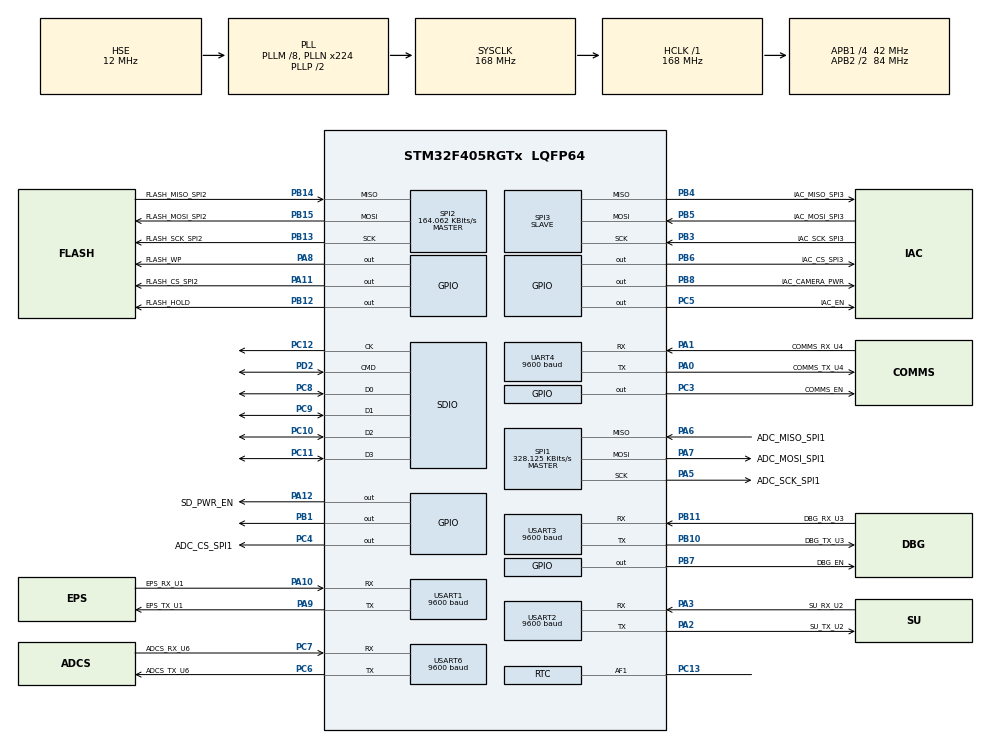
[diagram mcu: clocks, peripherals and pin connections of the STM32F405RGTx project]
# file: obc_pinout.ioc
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ADC1.Channel-21\#ChannelRegularConversion=ADC_CHANNEL_VBAT
ADC1.NbrOfConversionFlag=1
ADC1.Rank-21\#ChannelRegularConversion=1
ADC1.SamplingTime-21\#ChannelRegularConversion=ADC_SAMPLETIME_3CYCLES
ADC1.master=1
Dma.Request0=USART2_TX
Dma.Request1=USART3_TX
Dma.Request2=USART6_TX
Dma.Request3=USART1_TX
Dma.Request4=UART4_TX
Dma.UART4_TX.4.Direction=DMA_MEMORY_TO_PERIPH
Dma.UART4_TX.4.FIFOMode=DMA_FIFOMODE_DISABLE
Dma.UART4_TX.4.Instance=DMA1_Stream4
Dma.UART4_TX.4.MemDataAlignment=DMA_MDATAALIGN_BYTE
Dma.UART4_TX.4.MemInc=DMA_MINC_ENABLE
Dma.UART4_TX.4.Mode=DMA_NORMAL
Dma.UART4_TX.4.PeriphDataAlignment=DMA_PDATAALIGN_BYTE
Dma.UART4_TX.4.PeriphInc=DMA_PINC_DISABLE
Dma.UART4_TX.4.Priority=DMA_PRIORITY_LOW
Dma.USART1_TX.3.Direction=DMA_MEMORY_TO_PERIPH
Dma.USART1_TX.3.FIFOMode=DMA_FIFOMODE_DISABLE
Dma.USART1_TX.3.Instance=DMA2_Stream7
Dma.USART1_TX.3.MemDataAlignment=DMA_MDATAALIGN_BYTE
Dma.USART1_TX.3.MemInc=DMA_MINC_ENABLE
Dma.USART1_TX.3.Mode=DMA_NORMAL
Dma.USART1_TX.3.PeriphDataAlignment=DMA_PDATAALIGN_BYTE
Dma.USART1_TX.3.PeriphInc=DMA_PINC_DISABLE
Dma.USART1_TX.3.Priority=DMA_PRIORITY_LOW
Dma.USART2_TX.0.Direction=DMA_MEMORY_TO_PERIPH
Dma.USART2_TX.0.FIFOMode=DMA_FIFOMODE_DISABLE
Dma.USART2_TX.0.Instance=DMA1_Stream6
Dma.USART2_TX.0.MemDataAlignment=DMA_MDATAALIGN_BYTE
Dma.USART2_TX.0.MemInc=DMA_MINC_ENABLE
Dma.USART2_TX.0.Mode=DMA_NORMAL
Dma.USART2_TX.0.PeriphDataAlignment=DMA_PDATAALIGN_BYTE
Dma.USART2_TX.0.PeriphInc=DMA_PINC_DISABLE
Dma.USART2_TX.0.Priority=DMA_PRIORITY_LOW
Dma.USART3_TX.1.Direction=DMA_MEMORY_TO_PERIPH
Dma.USART3_TX.1.FIFOMode=DMA_FIFOMODE_DISABLE
Dma.USART3_TX.1.Instance=DMA1_Stream3
Dma.USART3_TX.1.MemDataAlignment=DMA_MDATAALIGN_BYTE
Dma.USART3_TX.1.MemInc=DMA_MINC_ENABLE
Dma.USART3_TX.1.Mode=DMA_NORMAL
Dma.USART3_TX.1.PeriphDataAlignment=DMA_PDATAALIGN_BYTE
Dma.USART3_TX.1.PeriphInc=DMA_PINC_DISABLE
Dma.USART3_TX.1.Priority=DMA_PRIORITY_LOW
Dma.USART6_TX.2.Direction=DMA_MEMORY_TO_PERIPH
Dma.USART6_TX.2.FIFOMode=DMA_FIFOMODE_DISABLE
Dma.USART6_TX.2.Instance=DMA2_Stream6
Dma.USART6_TX.2.MemDataAlignment=DMA_MDATAALIGN_BYTE
Dma.USART6_TX.2.MemInc=DMA_MINC_ENABLE
Dma.USART6_TX.2.Mode=DMA_NORMAL
Dma.USART6_TX.2.PeriphDataAlignment=DMA_PDATAALIGN_BYTE
Dma.USART6_TX.2.PeriphInc=DMA_PINC_DISABLE
Dma.USART6_TX.2.Priority=DMA_PRIORITY_LOW
FATFS._FS_LOCK=1
FATFS._MAX_SS=512
FREERTOS.HEAP_NUMBER=1
FREERTOS.INCLUDE_uxTaskGetStackHighWaterMark=1
FREERTOS.INCLUDE_vTaskDelayUntil=1
FREERTOS.Queues01=queueCOMMS,25,uint16_t,NULL;queueADCS,25,uint16_t,NULL;queueDBG,25,uint16_t,NULL;queueEPS,25,uint16_t,NULL
FREERTOS.Tasks01=uart,0,1024,UART_task,Default;HK,-2,512,HK_task,Default;time_check,-3,512,IDLE_task,Default;SU_SCH_task,-1,512,SU_SCH,Default;TEST_task,1,512,StartTask05,Default
FREERTOS.configCHECK_FOR_STACK_OVERFLOW=2
FREERTOS.configUSE_IDLE_HOOK=1
IWDG.Prescaler=IWDG_PRESCALER_256
Mcu.Family=STM32F4
Mcu.Name=STM32F405RGTx
Mcu.Package=LQFP64
NVIC.ADC_IRQn=true\:0\:0\:false\:false\:true\:false\:true
NVIC.DMA1_Stream3_IRQn=true\:5\:0\:false\:false\:true\:true\:true
NVIC.DMA1_Stream4_IRQn=true\:5\:0\:false\:false\:true\:true\:true
NVIC.DMA1_Stream6_IRQn=true\:5\:0\:false\:false\:true\:true\:true
NVIC.DMA2_Stream6_IRQn=true\:5\:0\:false\:false\:true\:true\:true
NVIC.DMA2_Stream7_IRQn=true\:5\:0\:false\:false\:true\:true\:true
NVIC.PriorityGroup=NVIC_PRIORITYGROUP_4
NVIC.SDIO_IRQn=true\:5\:0\:false\:false\:true\:true\:true
NVIC.SPI3_IRQn=true\:5\:0\:false\:false\:true\:true\:true
NVIC.TIM1_UP_TIM10_IRQn=true\:0\:0\:false\:false\:true\:false\:true
NVIC.TimeBase=TIM1_UP_TIM10_IRQn
NVIC.TimeBaseIP=TIM1
NVIC.UART4_IRQn=true\:5\:0\:false\:false\:true\:true\:true
NVIC.USART1_IRQn=true\:5\:0\:false\:false\:true\:true\:true
NVIC.USART2_IRQn=true\:5\:0\:false\:false\:true\:true\:true
NVIC.USART3_IRQn=true\:5\:0\:false\:false\:true\:true\:true
NVIC.USART6_IRQn=true\:5\:0\:false\:false\:true\:true\:true
PA0-WKUP.GPIO_Label=COMMS_TX_U4
PA0-WKUP.Mode=Asynchronous
PA0-WKUP.Signal=UART4_TX
PA1.GPIO_Label=COMMS_RX_U4
PA1.Mode=Asynchronous
PA1.Signal=UART4_RX
PA10.GPIO_Label=EPS_RX_U1
PA10.Mode=Asynchronous
PA10.Signal=USART1_RX
PA11.GPIO_Label=FLASH_CS_SPI2
PA11.Signal=GPIO_Output
PA12.GPIO_Label=SD_PWR_EN
PA12.Signal=GPIO_Output
PA13.Mode=Serial_Wire
PA13.Signal=SYS_JTMS-SWDIO
PA14.Mode=Serial_Wire
PA14.Signal=SYS_JTCK-SWCLK
PA2.GPIO_Label=SU_TX_U2
PA2.Mode=Asynchronous
PA2.Signal=USART2_TX
PA3.GPIO_Label=SU_RX_U2
PA3.Mode=Asynchronous
PA3.Signal=USART2_RX
PA5.GPIO_Label=ADC_SCK_SPI1
PA5.Mode=Full_Duplex_Master
PA5.Signal=SPI1_SCK
PA6.GPIO_Label=ADC_MISO_SPI1
PA6.Mode=Full_Duplex_Master
PA6.Signal=SPI1_MISO
PA7.GPIO_Label=ADC_MOSI_SPI1
PA7.Mode=Full_Duplex_Master
PA7.Signal=SPI1_MOSI
PA8.GPIO_Label=FLASH_WP
PA8.Signal=GPIO_Output
PA9.GPIO_Label=EPS_TX_U1
PA9.Mode=Asynchronous
PA9.Signal=USART1_TX
PB0.GPIO_Label=IAC_CM_ADC1_8
PB0.Signal=ADCx_IN8
PB1.Signal=GPIO_Output
PB10.GPIO_Label=DBG_TX_U3
PB10.Mode=Asynchronous
PB10.Signal=USART3_TX
PB11.GPIO_Label=DBG_RX_U3
PB11.Mode=Asynchronous
PB11.Signal=USART3_RX
PB12.GPIO_Label=FLASH_HOLD
PB12.Signal=GPIO_Output
PB13.GPIO_Label=FLASH_SCK_SPI2
PB13.Mode=Full_Duplex_Master
PB13.Signal=SPI2_SCK
PB14.GPIO_Label=FLASH_MISO_SPI2
PB14.Mode=Full_Duplex_Master
PB14.Signal=SPI2_MISO
PB15.GPIO_Label=FLASH_MOSI_SPI2
PB15.Mode=Full_Duplex_Master
PB15.Signal=SPI2_MOSI
PB3.GPIO_Label=IAC_SCK_SPI3
PB3.Mode=Full_Duplex_Slave
PB3.Signal=SPI3_SCK
PB4.GPIO_Label=IAC_MISO_SPI3
PB4.Mode=Full_Duplex_Slave
PB4.Signal=SPI3_MISO
PB5.GPIO_Label=IAC_MOSI_SPI3
PB5.Mode=Full_Duplex_Slave
PB5.Signal=SPI3_MOSI
PB6.GPIO_Label=IAC_CS_SPI3
PB6.Signal=GPIO_Output
PB7.GPIO_Label=DBG_EN
PB7.Signal=GPIO_Output
PB8.GPIO_Label=IAC_CAMERA_PWR
PB8.Signal=GPIO_Output
PC10.Mode=SD_4_bits_Wide_bus
PC10.Signal=SDIO_D2
PC11.Mode=SD_4_bits_Wide_bus
PC11.Signal=SDIO_D3
PC12.Mode=SD_4_bits_Wide_bus
PC12.Signal=SDIO_CK
PC13-ANTI_TAMP.Mode=Calibration_1Hz
PC13-ANTI_TAMP.Signal=RTC_AF1
PC14-OSC32_IN.Mode=LSE-External-Oscillator
PC14-OSC32_IN.Signal=RCC_OSC32_IN
PC15-OSC32_OUT.Mode=LSE-External-Oscillator
PC15-OSC32_OUT.Signal=RCC_OSC32_OUT
PC3.GPIO_Label=COMMS_EN
PC3.Signal=GPIO_Output
PC4.GPIO_Label=ADC_CS_SPI1
PC4.Signal=GPIO_Output
PC5.GPIO_Label=IAC_EN
PC5.Signal=GPIO_Output
PC6.GPIO_Label=ADCS_TX_U6
PC6.Mode=Asynchronous
PC6.Signal=USART6_TX
PC7.GPIO_Label=ADCS_RX_U6
PC7.Mode=Asynchronous
PC7.Signal=USART6_RX
PC8.Mode=SD_4_bits_Wide_bus
PC8.Signal=SDIO_D0
PC9.Mode=SD_4_bits_Wide_bus
PC9.Signal=SDIO_D1
PD2.Mode=SD_4_bits_Wide_bus
PD2.Signal=SDIO_CMD
PH0-OSC_IN.Mode=HSE-External-Oscillator
PH0-OSC_IN.Signal=RCC_OSC_IN
PH1-OSC_OUT.Mode=HSE-External-Oscillator
PH1-OSC_OUT.Signal=RCC_OSC_OUT
ProjectManager.HeapSize=0x200
ProjectManager.StackSize=0x400
ProjectManager.TargetToolchain=SW4STM32
RCC.48MHZClocksFreq_Value=48000000
RCC.AHBFreq_Value=168000000
RCC.APB1CLKDivider=RCC_HCLK_DIV4
RCC.APB1Freq_Value=42000000
RCC.APB1TimFreq_Value=84000000
RCC.APB2CLKDivider=RCC_HCLK_DIV2
RCC.APB2Freq_Value=84000000
RCC.APB2TimFreq_Value=168000000
RCC.CortexFreq_Value=168000000
RCC.HCLKFreq_Value=168000000
RCC.HSE_VALUE=12000000
RCC.HSI_VALUE=16000000
RCC.PLLM=8
RCC.PLLN=224
RCC.PLLQ=7
RCC.PLLSourceVirtual=RCC_PLLSOURCE_HSE
RCC.RCC_RTC_Clock_Source=RCC_RTCCLKSOURCE_LSE
RCC.RCC_RTC_Clock_SourceVirtual=RCC_RTCCLKSOURCE_LSE
RCC.SYSCLKFreq_VALUE=168000000
RCC.SYSCLKSource=RCC_SYSCLKSOURCE_PLLCLK
RCC.VCOOutputFreq_Value=336000000
RTC.Format=RTC_FORMAT_BIN
SH.ADCx_IN8.0=ADC1_IN8
SPI1.BaudRatePrescaler=SPI_BAUDRATEPRESCALER_256
SPI1.CalculateBaudRate=328.125 KBits/s
SPI1.Direction=SPI_DIRECTION_2LINES
SPI1.Mode=SPI_MODE_MASTER
SPI1.VirtualType=VM_MASTER
SPI2.BaudRatePrescaler=SPI_BAUDRATEPRESCALER_256
SPI2.CLKPhase=SPI_PHASE_1EDGE
SPI2.CalculateBaudRate=164.062 KBits/s
SPI2.Direction=SPI_DIRECTION_2LINES
SPI2.Mode=SPI_MODE_MASTER
SPI2.VirtualType=VM_MASTER
SPI3.Direction=SPI_DIRECTION_2LINES
SPI3.Mode=SPI_MODE_SLAVE
SPI3.VirtualType=VM_SLAVE
UART4.BaudRate=9600
UART4.VirtualMode=Asynchronous
USART1.BaudRate=9600
USART1.VirtualMode=VM_ASYNC
USART2.BaudRate=9600
USART2.VirtualMode=VM_ASYNC
USART3.BaudRate=9600
USART3.VirtualMode=VM_ASYNC
USART6.BaudRate=9600
USART6.VirtualMode=VM_ASYNC
VP_ADC1_Vbat_Input.Mode=IN-Vbat
VP_FATFS_VS_SDIO.Mode=SDIO
VP_FREERTOS_VS_ENABLE.Mode=Enabled
VP_IWDG_VS_IWDG.Mode=IWDG_Activate
VP_SYS_VS_tim1.Mode=TIM1
board=obc_pinout

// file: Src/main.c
/**
  ******************************************************************************
  * File Name          : main.c
  * Description        : Main program body
  ******************************************************************************
  *
  * COPYRIGHT(c) 2022 STMicroelectronics
  *
  * Redistribution and use in source and binary forms, with or without modification,
  * are permitted provided that the following conditions are met:
  *   1. Redistributions of source code must retain the above copyright notice,
  *      this list of conditions and the following disclaimer.
  *   2. Redistributions in binary form must reproduce the above copyright notice,
  *      this list of conditions and the following disclaimer in the documentation
  *      and/or other materials provided with the distribution.
  *   3. Neither the name of STMicroelectronics nor the names of its contributors
  *      may be used to endorse or promote products derived from this software
  *      without specific prior written permission.
  *
  * THIS SOFTWARE IS PROVIDED BY THE COPYRIGHT HOLDERS AND CONTRIBUTORS "AS IS"
  * AND ANY EXPRESS OR IMPLIED WARRANTIES, INCLUDING, BUT NOT LIMITED TO, THE
  * IMPLIED WARRANTIES OF MERCHANTABILITY AND FITNESS FOR A PARTICULAR PURPOSE ARE
  * DISCLAIMED. IN NO EVENT SHALL THE COPYRIGHT HOLDER OR CONTRIBUTORS BE LIABLE
  * FOR ANY DIRECT, INDIRECT, INCIDENTAL, SPECIAL, EXEMPLARY, OR CONSEQUENTIAL
  * DAMAGES (INCLUDING, BUT NOT LIMITED TO, PROCUREMENT OF SUBSTITUTE GOODS OR
  * SERVICES; LOSS OF USE, DATA, OR PROFITS; OR BUSINESS INTERRUPTION) HOWEVER
  * CAUSED AND ON ANY THEORY OF LIABILITY, WHETHER IN CONTRACT, STRICT LIABILITY,
  * OR TORT (INCLUDING NEGLIGENCE OR OTHERWISE) ARISING IN ANY WAY OUT OF THE USE
  * OF THIS SOFTWARE, EVEN IF ADVISED OF THE POSSIBILITY OF SUCH DAMAGE.
  *
  ******************************************************************************
  */
#include "stm32f4xx_hal.h"
#include "cmsis_os.h"
#include "fatfs.h"

/* USER CODE BEGIN Includes */
#include "obc.h"
#include "service_utilities.h"
#include "time_management_service.h"
#include "wdg.h"
#include "su_mnlp.h"
#include "scheduling_service.h"

#undef __FILE_ID__
#define __FILE_ID__ 666

/* USER CODE END Includes */

ADC_HandleTypeDef hadc1;

IWDG_HandleTypeDef hiwdg;

RTC_HandleTypeDef hrtc;

SD_HandleTypeDef hsd;
HAL_SD_CardInfoTypedef SDCardInfo;

SPI_HandleTypeDef hspi1;
SPI_HandleTypeDef hspi2;
SPI_HandleTypeDef hspi3;

UART_HandleTypeDef huart4;
UART_HandleTypeDef huart1;
UART_HandleTypeDef huart2;
UART_HandleTypeDef huart3;
UART_HandleTypeDef huart6;
DMA_HandleTypeDef hdma_uart4_tx;
DMA_HandleTypeDef hdma_usart1_tx;
DMA_HandleTypeDef hdma_usart2_tx;
DMA_HandleTypeDef hdma_usart3_tx;
DMA_HandleTypeDef hdma_usart6_tx;

osThreadId uartHandle;
osThreadId HKHandle;
osThreadId time_checkHandle;
osThreadId SU_SCH_taskHandle;
osThreadId TEST_taskHandle;
osMessageQId queueCOMMSHandle;
osMessageQId queueADCSHandle;
osMessageQId queueDBGHandle;
osMessageQId queueEPSHandle;

/* USER CODE BEGIN PV */
/* Private variables ---------------------------------------------------------*/
uint8_t uart_temp[200];
extern uint8_t su_inc_resp[180]; //174 su resp + 22 flight hdr, +1 for serial shift = 197
extern struct _MNLP_data MNLP_data;

TaskHandle_t xTask_UART = NULL;
/* USER CODE END PV */

void SystemClock_Config(void);
void Error_Handler(void);
static void MX_GPIO_Init(void);
static void MX_DMA_Init(void);
//static void SystemClock_Config(void);
static void MX_ADC1_Init(void);
static void MX_IWDG_Init(void);
static void MX_RTC_Init(void);
static void MX_SDIO_SD_Init(void);
static void MX_SPI1_Init(void);
static void MX_SPI2_Init(void);
static void MX_SPI3_Init(void);
static void MX_UART4_Init(void);
static void MX_USART1_UART_Init(void);
static void MX_USART2_UART_Init(void);
static void MX_USART3_UART_Init(void);
static void MX_USART6_UART_Init(void);
void UART_task(void const * argument);
void HK_task(void const * argument);
void IDLE_task(void const * argument);
void SU_SCH(void const * argument);
void StartTask05(void const * argument);

/* USER CODE BEGIN PFP */
/* Private function prototypes -----------------------------------------------*/

/* USER CODE END PFP */

/* USER CODE BEGIN 0 */
const TickType_t xUARTMaxBlockTime = pdMS_TO_TICKS(10000);
const TickType_t xUARTMinBlockTime = pdMS_TO_TICKS(100);
/* USER CODE END 0 */

int main(void)
{

  /* MCU Configuration----------------------------------------------------------*/

  /* Reset of all peripherals, Initializes the Flash interface and the Systick. */
  HAL_Init();

  /* Configure the system clock */
  SystemClock_Config();

  /* Initialize all configured peripherals */
  MX_GPIO_Init();
  MX_DMA_Init();
  SystemClock_Config();
  MX_ADC1_Init();
  MX_IWDG_Init();
  MX_RTC_Init();
  MX_SDIO_SD_Init();
  MX_SPI1_Init();
  MX_SPI2_Init();
  MX_SPI3_Init();
  MX_UART4_Init();
  MX_USART1_UART_Init();
  MX_USART2_UART_Init();
  MX_USART3_UART_Init();
  MX_USART6_UART_Init();

  /* USER CODE BEGIN 2 */
  SEGGER_SYSVIEW_Conf();
  sysview_init();
  /* USER CODE END 2 */

  /* Create the thread(s) */
  /* definition and creation of uart */
  osThreadDef(uart, UART_task, osPriorityNormal, 0, 1024);
  uartHandle = osThreadCreate(osThread(uart), NULL);

  /* definition and creation of HK */
  osThreadDef(HK, HK_task, osPriorityLow, 0, 512);
  HKHandle = osThreadCreate(osThread(HK), NULL);

  /* definition and creation of time_check */
  osThreadDef(time_check, IDLE_task, osPriorityIdle, 0, 512);
  time_checkHandle = osThreadCreate(osThread(time_check), NULL);

  /* definition and creation of SU_SCH_task */
  osThreadDef(SU_SCH_task, SU_SCH, osPriorityBelowNormal, 0, 512);
  SU_SCH_taskHandle = osThreadCreate(osThread(SU_SCH_task), NULL);

  /* definition and creation of TEST_task */
  osThreadDef(TEST_task, StartTask05, osPriorityAboveNormal, 0, 512);
  TEST_taskHandle = osThreadCreate(osThread(TEST_task), NULL);

  /* Create the queue(s) */
  /* definition and creation of queueCOMMS */
  osMessageQDef(queueCOMMS, 25, uint16_t);
  queueCOMMSHandle = osMessageCreate(osMessageQ(queueCOMMS), NULL);

  /* definition and creation of queueADCS */
  osMessageQDef(queueADCS, 25, uint16_t);
  queueADCSHandle = osMessageCreate(osMessageQ(queueADCS), NULL);

  /* definition and creation of queueDBG */
  osMessageQDef(queueDBG, 25, uint16_t);
  queueDBGHandle = osMessageCreate(osMessageQ(queueDBG), NULL);

  /* definition and creation of queueEPS */
  osMessageQDef(queueEPS, 25, uint16_t);
  queueEPSHandle = osMessageCreate(osMessageQ(queueEPS), NULL);

  /* USER CODE BEGIN RTOS_QUEUES */
  uint32_t test = uxQueueMessagesWaiting( queueEPS );
  test = uxQueueMessagesWaiting( queueDBG );
  test = uxQueueMessagesWaiting( queueADCS );
  test = uxQueueMessagesWaiting( queueCOMMS );
  /* USER CODE END RTOS_QUEUES */

  /* Start scheduler */
  osKernelStart();

  /* We should never get here as control is now taken by the scheduler */

  /* Infinite loop */
  while (1)
  {

  }

}

/** System Clock Configuration
*/
void SystemClock_Config(void)
{

  RCC_OscInitTypeDef RCC_OscInitStruct;
  RCC_ClkInitTypeDef RCC_ClkInitStruct;
  RCC_PeriphCLKInitTypeDef PeriphClkInitStruct;

  __HAL_RCC_PWR_CLK_ENABLE();

  __HAL_PWR_VOLTAGESCALING_CONFIG(PWR_REGULATOR_VOLTAGE_SCALE1);

  RCC_OscInitStruct.OscillatorType = RCC_OSCILLATORTYPE_LSI|RCC_OSCILLATORTYPE_HSE
                              |RCC_OSCILLATORTYPE_LSE;
  RCC_OscInitStruct.HSEState = RCC_HSE_ON;
  RCC_OscInitStruct.LSEState = RCC_LSE_ON;
  RCC_OscInitStruct.LSIState = RCC_LSI_ON;
  RCC_OscInitStruct.PLL.PLLState = RCC_PLL_ON;
  RCC_OscInitStruct.PLL.PLLSource = RCC_PLLSOURCE_HSE;
  RCC_OscInitStruct.PLL.PLLM = 8;
  RCC_OscInitStruct.PLL.PLLN = 224;
  RCC_OscInitStruct.PLL.PLLP = RCC_PLLP_DIV2;
  RCC_OscInitStruct.PLL.PLLQ = 7;
  if (HAL_RCC_OscConfig(&RCC_OscInitStruct) != HAL_OK)
  {
    Error_Handler();
  }

  RCC_ClkInitStruct.ClockType = RCC_CLOCKTYPE_HCLK|RCC_CLOCKTYPE_SYSCLK
                              |RCC_CLOCKTYPE_PCLK1|RCC_CLOCKTYPE_PCLK2;
  RCC_ClkInitStruct.SYSCLKSource = RCC_SYSCLKSOURCE_PLLCLK;
  RCC_ClkInitStruct.AHBCLKDivider = RCC_SYSCLK_DIV1;
  RCC_ClkInitStruct.APB1CLKDivider = RCC_HCLK_DIV4;
  RCC_ClkInitStruct.APB2CLKDivider = RCC_HCLK_DIV2;
  if (HAL_RCC_ClockConfig(&RCC_ClkInitStruct, FLASH_LATENCY_5) != HAL_OK)
  {
    Error_Handler();
  }

  PeriphClkInitStruct.PeriphClockSelection = RCC_PERIPHCLK_RTC;
  PeriphClkInitStruct.RTCClockSelection = RCC_RTCCLKSOURCE_LSE;
  if (HAL_RCCEx_PeriphCLKConfig(&PeriphClkInitStruct) != HAL_OK)
  {
    Error_Handler();
  }

  HAL_SYSTICK_Config(HAL_RCC_GetHCLKFreq()/1000);

  HAL_SYSTICK_CLKSourceConfig(SYSTICK_CLKSOURCE_HCLK);

  /* SysTick_IRQn interrupt configuration */
  HAL_NVIC_SetPriority(SysTick_IRQn, 15, 0);
}

/* ADC1 init function */
static void MX_ADC1_Init(void)
{

  ADC_ChannelConfTypeDef sConfig;

    /**Configure the global features of the ADC (Clock, Resolution, Data Alignment and number of conversion)
    */
  hadc1.Instance = ADC1;
  hadc1.Init.ClockPrescaler = ADC_CLOCK_SYNC_PCLK_DIV4;
  hadc1.Init.Resolution = ADC_RESOLUTION_12B;
  hadc1.Init.ScanConvMode = DISABLE;
  hadc1.Init.ContinuousConvMode = DISABLE;
  hadc1.Init.DiscontinuousConvMode = DISABLE;
  hadc1.Init.ExternalTrigConvEdge = ADC_EXTERNALTRIGCONVEDGE_NONE;
  hadc1.Init.DataAlign = ADC_DATAALIGN_RIGHT;
  hadc1.Init.NbrOfConversion = 1;
  hadc1.Init.DMAContinuousRequests = DISABLE;
  hadc1.Init.EOCSelection = ADC_EOC_SINGLE_CONV;
  if (HAL_ADC_Init(&hadc1) != HAL_OK)
  {
    Error_Handler();
  }

    /**Configure for the selected ADC regular channel its corresponding rank in the sequencer and its sample time.
    */
  sConfig.Channel = ADC_CHANNEL_VBAT;
  sConfig.Rank = 1;
  sConfig.SamplingTime = ADC_SAMPLETIME_3CYCLES;
  if (HAL_ADC_ConfigChannel(&hadc1, &sConfig) != HAL_OK)
  {
    Error_Handler();
  }

}

/* IWDG init function */
static void MX_IWDG_Init(void)
{

  hiwdg.Instance = IWDG;
  hiwdg.Init.Prescaler = IWDG_PRESCALER_256;
  hiwdg.Init.Reload = 4095;
  if (HAL_IWDG_Init(&hiwdg) != HAL_OK)
  {
    Error_Handler();
  }

}

/* RTC init function */
static void MX_RTC_Init(void)
{

  RTC_TimeTypeDef sTime;
  RTC_DateTypeDef sDate;

    /**Initialize RTC and set the Time and Date
    */
  hrtc.Instance = RTC;
  hrtc.Init.HourFormat = RTC_HOURFORMAT_24;
  hrtc.Init.AsynchPrediv = 127;
  hrtc.Init.SynchPrediv = 255;
  hrtc.Init.OutPut = RTC_OUTPUT_DISABLE;
  hrtc.Init.OutPutPolarity = RTC_OUTPUT_POLARITY_HIGH;
  hrtc.Init.OutPutType = RTC_OUTPUT_TYPE_OPENDRAIN;
  if (HAL_RTC_Init(&hrtc) != HAL_OK)
  {
    Error_Handler();
  }

  sTime.Hours = 0;
  sTime.Minutes = 0;
  sTime.Seconds = 0;
  sTime.DayLightSaving = RTC_DAYLIGHTSAVING_NONE;
  sTime.StoreOperation = RTC_STOREOPERATION_RESET;
  if (HAL_RTC_SetTime(&hrtc, &sTime, RTC_FORMAT_BIN) != HAL_OK)
  {
    Error_Handler();
  }

  sDate.WeekDay = RTC_WEEKDAY_MONDAY;
  sDate.Month = RTC_MONTH_JANUARY;
  sDate.Date = 1;
  sDate.Year = 0;

  if (HAL_RTC_SetDate(&hrtc, &sDate, RTC_FORMAT_BIN) != HAL_OK)
  {
    Error_Handler();
  }

    /**Enable Calibrartion
    */
  if (HAL_RTCEx_SetCalibrationOutPut(&hrtc, RTC_CALIBOUTPUT_1HZ) != HAL_OK)
  {
    Error_Handler();
  }

}

/* SDIO init function */
static void MX_SDIO_SD_Init(void)
{

  hsd.Instance = SDIO;
  hsd.Init.ClockEdge = SDIO_CLOCK_EDGE_RISING;
  hsd.Init.ClockBypass = SDIO_CLOCK_BYPASS_DISABLE;
  hsd.Init.ClockPowerSave = SDIO_CLOCK_POWER_SAVE_DISABLE;
  hsd.Init.BusWide = SDIO_BUS_WIDE_1B;
  hsd.Init.HardwareFlowControl = SDIO_HARDWARE_FLOW_CONTROL_DISABLE;
  hsd.Init.ClockDiv = 0;

}

/* SPI1 init function */
static void MX_SPI1_Init(void)
{

  hspi1.Instance = SPI1;
  hspi1.Init.Mode = SPI_MODE_MASTER;
  hspi1.Init.Direction = SPI_DIRECTION_2LINES;
  hspi1.Init.DataSize = SPI_DATASIZE_8BIT;
  hspi1.Init.CLKPolarity = SPI_POLARITY_LOW;
  hspi1.Init.CLKPhase = SPI_PHASE_1EDGE;
  hspi1.Init.NSS = SPI_NSS_SOFT;
  hspi1.Init.BaudRatePrescaler = SPI_BAUDRATEPRESCALER_256;
  hspi1.Init.FirstBit = SPI_FIRSTBIT_MSB;
  hspi1.Init.TIMode = SPI_TIMODE_DISABLE;
  hspi1.Init.CRCCalculation = SPI_CRCCALCULATION_DISABLE;
  hspi1.Init.CRCPolynomial = 10;
  if (HAL_SPI_Init(&hspi1) != HAL_OK)
  {
    Error_Handler();
  }

}

/* SPI2 init function */
static void MX_SPI2_Init(void)
{

  hspi2.Instance = SPI2;
  hspi2.Init.Mode = SPI_MODE_MASTER;
  hspi2.Init.Direction = SPI_DIRECTION_2LINES;
  hspi2.Init.DataSize = SPI_DATASIZE_8BIT;
  hspi2.Init.CLKPolarity = SPI_POLARITY_LOW;
  hspi2.Init.CLKPhase = SPI_PHASE_1EDGE;
  hspi2.Init.NSS = SPI_NSS_SOFT;
  hspi2.Init.BaudRatePrescaler = SPI_BAUDRATEPRESCALER_256;
  hspi2.Init.FirstBit = SPI_FIRSTBIT_MSB;
  hspi2.Init.TIMode = SPI_TIMODE_DISABLE;
  hspi2.Init.CRCCalculation = SPI_CRCCALCULATION_DISABLE;
  hspi2.Init.CRCPolynomial = 10;
  if (HAL_SPI_Init(&hspi2) != HAL_OK)
  {
    Error_Handler();
  }

}

/* SPI3 init function */
static void MX_SPI3_Init(void)
{

  hspi3.Instance = SPI3;
  hspi3.Init.Mode = SPI_MODE_SLAVE;
  hspi3.Init.Direction = SPI_DIRECTION_2LINES;
  hspi3.Init.DataSize = SPI_DATASIZE_8BIT;
  hspi3.Init.CLKPolarity = SPI_POLARITY_LOW;
  hspi3.Init.CLKPhase = SPI_PHASE_1EDGE;
  hspi3.Init.NSS = SPI_NSS_SOFT;
  hspi3.Init.FirstBit = SPI_FIRSTBIT_MSB;
  hspi3.Init.TIMode = SPI_TIMODE_DISABLE;
  hspi3.Init.CRCCalculation = SPI_CRCCALCULATION_DISABLE;
  hspi3.Init.CRCPolynomial = 10;
  if (HAL_SPI_Init(&hspi3) != HAL_OK)
  {
    Error_Handler();
  }

}

/* UART4 init function */
static void MX_UART4_Init(void)
{

  huart4.Instance = UART4;
  huart4.Init.BaudRate = 9600;
  huart4.Init.WordLength = UART_WORDLENGTH_8B;
  huart4.Init.StopBits = UART_STOPBITS_1;
  huart4.Init.Parity = UART_PARITY_NONE;
  huart4.Init.Mode = UART_MODE_TX_RX;
  huart4.Init.HwFlowCtl = UART_HWCONTROL_NONE;
  huart4.Init.OverSampling = UART_OVERSAMPLING_16;
  if (HAL_UART_Init(&huart4) != HAL_OK)
  {
    Error_Handler();
  }

}

/* USART1 init function */
static void MX_USART1_UART_Init(void)
{

  huart1.Instance = USART1;
  huart1.Init.BaudRate = 9600;
  huart1.Init.WordLength = UART_WORDLENGTH_8B;
  huart1.Init.StopBits = UART_STOPBITS_1;
  huart1.Init.Parity = UART_PARITY_NONE;
  huart1.Init.Mode = UART_MODE_TX_RX;
  huart1.Init.HwFlowCtl = UART_HWCONTROL_NONE;
  huart1.Init.OverSampling = UART_OVERSAMPLING_16;
  if (HAL_UART_Init(&huart1) != HAL_OK)
  {
    Error_Handler();
  }

}

/* USART2 init function */
static void MX_USART2_UART_Init(void)
{

  huart2.Instance = USART2;
  huart2.Init.BaudRate = 9600;
  huart2.Init.WordLength = UART_WORDLENGTH_8B;
  huart2.Init.StopBits = UART_STOPBITS_1;
  huart2.Init.Parity = UART_PARITY_NONE;
  huart2.Init.Mode = UART_MODE_TX_RX;
  huart2.Init.HwFlowCtl = UART_HWCONTROL_NONE;
  huart2.Init.OverSampling = UART_OVERSAMPLING_16;
  if (HAL_UART_Init(&huart2) != HAL_OK)
  {
    Error_Handler();
  }

}

/* USART3 init function */
static void MX_USART3_UART_Init(void)
{

  huart3.Instance = USART3;
  huart3.Init.BaudRate = 9600;
  huart3.Init.WordLength = UART_WORDLENGTH_8B;
  huart3.Init.StopBits = UART_STOPBITS_1;
  huart3.Init.Parity = UART_PARITY_NONE;
  huart3.Init.Mode = UART_MODE_TX_RX;
  huart3.Init.HwFlowCtl = UART_HWCONTROL_NONE;
  huart3.Init.OverSampling = UART_OVERSAMPLING_16;
  if (HAL_UART_Init(&huart3) != HAL_OK)
  {
    Error_Handler();
  }

}

/* USART6 init function */
static void MX_USART6_UART_Init(void)
{

  huart6.Instance = USART6;
  huart6.Init.BaudRate = 9600;
  huart6.Init.WordLength = UART_WORDLENGTH_8B;
  huart6.Init.StopBits = UART_STOPBITS_1;
  huart6.Init.Parity = UART_PARITY_NONE;
  huart6.Init.Mode = UART_MODE_TX_RX;
  huart6.Init.HwFlowCtl = UART_HWCONTROL_NONE;
  huart6.Init.OverSampling = UART_OVERSAMPLING_16;
  if (HAL_UART_Init(&huart6) != HAL_OK)
  {
    Error_Handler();
  }

}

static void MX_DMA_Init(void)
{
  /* DMA controller clock enable */
  __HAL_RCC_DMA1_CLK_ENABLE();
  __HAL_RCC_DMA2_CLK_ENABLE();

  /* DMA interrupt init */
  /* DMA1_Stream3_IRQn interrupt configuration */
  HAL_NVIC_SetPriority(DMA1_Stream3_IRQn, 5, 0);
  HAL_NVIC_EnableIRQ(DMA1_Stream3_IRQn);
  /* DMA1_Stream4_IRQn interrupt configuration */
  HAL_NVIC_SetPriority(DMA1_Stream4_IRQn, 5, 0);
  HAL_NVIC_EnableIRQ(DMA1_Stream4_IRQn);
  /* DMA1_Stream6_IRQn interrupt configuration */
  HAL_NVIC_SetPriority(DMA1_Stream6_IRQn, 5, 0);
  HAL_NVIC_EnableIRQ(DMA1_Stream6_IRQn);
  /* DMA2_Stream6_IRQn interrupt configuration */
  HAL_NVIC_SetPriority(DMA2_Stream6_IRQn, 5, 0);
  HAL_NVIC_EnableIRQ(DMA2_Stream6_IRQn);
  /* DMA2_Stream7_IRQn interrupt configuration */
  HAL_NVIC_SetPriority(DMA2_Stream7_IRQn, 5, 0);
  HAL_NVIC_EnableIRQ(DMA2_Stream7_IRQn);

}

/** Configure pins as
        * Analog
        * Input
        * Output
        * EVENT_OUT
        * EXTI
*/
static void MX_GPIO_Init(void)
{

  GPIO_InitTypeDef GPIO_InitStruct;

  /* GPIO Ports Clock Enable */
  __HAL_RCC_GPIOC_CLK_ENABLE();
  __HAL_RCC_GPIOH_CLK_ENABLE();
  __HAL_RCC_GPIOA_CLK_ENABLE();
  __HAL_RCC_GPIOB_CLK_ENABLE();
  __HAL_RCC_GPIOD_CLK_ENABLE();

  /*Configure GPIO pin Output Level */
  HAL_GPIO_WritePin(GPIOC, COMMS_EN_Pin|ADC_CS_SPI1_Pin|IAC_EN_Pin, GPIO_PIN_RESET);

  /*Configure GPIO pin Output Level */
  HAL_GPIO_WritePin(GPIOB, GPIO_PIN_1|FLASH_HOLD_Pin|IAC_CS_SPI3_Pin|DBG_EN_Pin
                          |IAC_CAMERA_PWR_Pin, GPIO_PIN_RESET);

  /*Configure GPIO pin Output Level */
  HAL_GPIO_WritePin(GPIOA, FLASH_WP_Pin|FLASH_CS_SPI2_Pin|SD_PWR_EN_Pin, GPIO_PIN_RESET);

  /*Configure GPIO pins : COMMS_EN_Pin ADC_CS_SPI1_Pin IAC_EN_Pin */
  GPIO_InitStruct.Pin = COMMS_EN_Pin|ADC_CS_SPI1_Pin|IAC_EN_Pin;
  GPIO_InitStruct.Mode = GPIO_MODE_OUTPUT_PP;
  GPIO_InitStruct.Pull = GPIO_NOPULL;
  GPIO_InitStruct.Speed = GPIO_SPEED_FREQ_LOW;
  HAL_GPIO_Init(GPIOC, &GPIO_InitStruct);

  /*Configure GPIO pins : PB1 FLASH_HOLD_Pin IAC_CS_SPI3_Pin DBG_EN_Pin
                           IAC_CAMERA_PWR_Pin */
  GPIO_InitStruct.Pin = GPIO_PIN_1|FLASH_HOLD_Pin|IAC_CS_SPI3_Pin|DBG_EN_Pin
                          |IAC_CAMERA_PWR_Pin;
  GPIO_InitStruct.Mode = GPIO_MODE_OUTPUT_PP;
  GPIO_InitStruct.Pull = GPIO_NOPULL;
  GPIO_InitStruct.Speed = GPIO_SPEED_FREQ_LOW;
  HAL_GPIO_Init(GPIOB, &GPIO_InitStruct);

  /*Configure GPIO pins : FLASH_WP_Pin FLASH_CS_SPI2_Pin SD_PWR_EN_Pin */
  GPIO_InitStruct.Pin = FLASH_WP_Pin|FLASH_CS_SPI2_Pin|SD_PWR_EN_Pin;
  GPIO_InitStruct.Mode = GPIO_MODE_OUTPUT_PP;
  GPIO_InitStruct.Pull = GPIO_NOPULL;
  GPIO_InitStruct.Speed = GPIO_SPEED_FREQ_LOW;
  HAL_GPIO_Init(GPIOA, &GPIO_InitStruct);

}

/* USER CODE BEGIN 4 */
void HAL_ADC_ConvCpltCallback(ADC_HandleTypeDef* hadc) {
    obc_data.adc_flag = true;
}
/* USER CODE END 4 */

/* UART_task function */
void UART_task(void const * argument)
{
  /* init code for FATFS */
  MX_FATFS_Init();

  /* USER CODE BEGIN 5 */

   /*IS25LP128  eeprom*/
   HAL_GPIO_WritePin(GPIOA, GPIO_PIN_11, GPIO_PIN_SET);
   HAL_GPIO_WritePin(GPIOB, GPIO_PIN_12, GPIO_PIN_SET);

   pkt_pool_INIT();
   HAL_obc_enableBkUpAccess();
   bkup_sram_INIT();

   uint8_t rsrc = 0;
   HAL_reset_source(&rsrc);
   set_reset_source(rsrc);

   uint32_t b_cnt = 0;
   get_boot_counter(&b_cnt);

   update_boot_counter();

   HAL_obc_SD_ON();

   mass_storage_init();

  /*Task notification setup*/
  uint32_t ulNotificationValue;
  const TickType_t xMaxBlockTime = pdMS_TO_TICKS(10000);

  xTask_UART = xTaskGetCurrentTaskHandle();
  TickType_t blockTime;

  su_INIT();

  scheduling_service_init();

  HAL_GPIO_WritePin(GPIOB, GPIO_PIN_6, GPIO_PIN_SET);
  osDelay(1);
  HAL_GPIO_WritePin(GPIOB, GPIO_PIN_6, GPIO_PIN_RESET);
  /*Uart inits*/
  HAL_UART_Receive_IT( &huart1, obc_data.eps_uart.uart_buf, UART_BUF_SIZE);
  HAL_UART_Receive_IT( &huart2, MNLP_data.su_inc_resp, 174);
  HAL_UART_Receive_IT( &huart3, obc_data.dbg_uart.uart_buf, UART_BUF_SIZE);
  HAL_UART_Receive_IT( &huart4, obc_data.comms_uart.uart_buf, UART_BUF_SIZE);
  HAL_UART_Receive_IT( &huart6, obc_data.adcs_uart.uart_buf, UART_BUF_SIZE);

  /* Infinite loop */
  for(;;)
  {
    task_times.uart_time = HAL_sys_GetTick();
    su_incoming_rx();
    import_pkt(EPS_APP_ID, &obc_data.eps_uart);
    export_pkt(EPS_APP_ID, &obc_data.eps_uart);

    import_pkt(COMMS_APP_ID, &obc_data.comms_uart);
    export_pkt(COMMS_APP_ID, &obc_data.comms_uart);

    import_pkt(ADCS_APP_ID, &obc_data.adcs_uart);
    export_pkt(ADCS_APP_ID, &obc_data.adcs_uart);

    import_pkt(DBG_APP_ID, &obc_data.dbg_uart);
    export_pkt(DBG_APP_ID, &obc_data.dbg_uart);

    wdg_reset_UART();
    if(uxQueueMessagesWaiting(queueADCS)  > 0  ||
       uxQueueMessagesWaiting(queueDBG)   > 0  ||
       uxQueueMessagesWaiting(queueCOMMS) > 0  ||
       uxQueueMessagesWaiting(queueEPS)   > 0) {

      blockTime = xUARTMinBlockTime;
    } else {
      blockTime = xUARTMaxBlockTime;
    }

    ulNotificationValue = ulTaskNotifyTake( pdTRUE, blockTime);

  }
  /* USER CODE END 5 */
}

/* HK_task function */
void HK_task(void const * argument)
{
  /* USER CODE BEGIN HK_task */
  hk_INIT();
  /* Infinite loop */
  osDelay(6000);
  for(;;)
  {
    task_times.hk_time = HAL_sys_GetTick();
    hk_SCH();
    osDelay(10);
  }
  /* USER CODE END HK_task */
}

/* IDLE_task function */
void IDLE_task(void const * argument)
{
  /* USER CODE BEGIN IDLE_task */

    /*Task notification setup*/
  osDelay(5000);
  /* Infinite loop */
  for(;;)
  {

    wdg_IDLE();

    uint32_t time = HAL_sys_GetTick();
    task_times.idle_time = time;

    pkt_pool_IDLE(time);
    queue_IDLE(EPS_APP_ID);
    queue_IDLE(DBG_APP_ID);
    queue_IDLE(COMMS_APP_ID);
    queue_IDLE(ADCS_APP_ID);

    if(time - obc_data.adc_time > 30000) {
      HAL_ADC_Start_IT(&hadc1);
      obc_data.adc_time = time;
    }

    if(obc_data.adc_flag == true) {
      obc_data.vbat = (uint16_t) HAL_ADC_GetValue(&hadc1);
      HAL_ADC_Stop_IT(&hadc1);
      obc_data.adc_flag = false;
    }

    osDelay(1000);

  }
  /* USER CODE END IDLE_task */
}

/* SU_SCH function */
void SU_SCH(void const * argument)
{
  for(;;)
  {
    osDelay(1);
  }
}

/* StartTask05 function */
void StartTask05(void const * argument)
{
  for(;;)
  {
    osDelay(1);
  }
}

void HAL_TIM_PeriodElapsedCallback(TIM_HandleTypeDef *htim)
{
  if (htim->Instance == TIM1) {
    HAL_IncTick();
  }
}

void Error_Handler(void)
{
  while(1)
  {
  }
}

/************************ (C) COPYRIGHT STMicroelectronics *****END OF FILE****/
